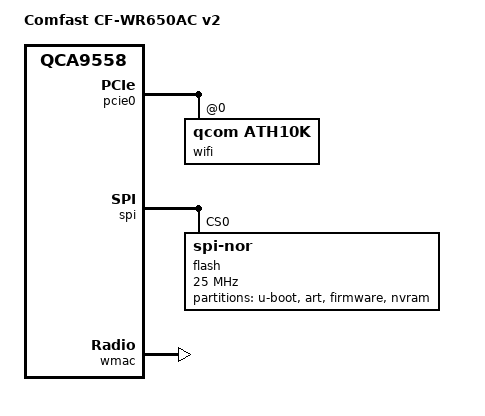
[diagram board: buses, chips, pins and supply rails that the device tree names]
// SPDX-License-Identifier: GPL-2.0-or-later OR MIT

#include "qca9558_comfast_cf-wr650ac.dtsi"

/ {
	compatible = "comfast,cf-wr650ac-v2", "qca,qca9558";
	model = "Comfast CF-WR650AC v2";
};

&pcie0 {
	status = "okay";

	wifi@0,0 {
		compatible = "qcom,ath10k";
		reg = <0x0000 0 0 0 0>;
		nvmem-cells = <&cal_art_5000>;
		nvmem-cell-names = "calibration";
	};
};

&spi {
	status = "okay";

	flash@0 {
		compatible = "jedec,spi-nor";
		reg = <0>;
		spi-max-frequency = <25000000>;

		partitions {
			compatible = "fixed-partitions";
			#address-cells = <1>;
			#size-cells = <1>;

			partition@0 {
				label = "u-boot";
				reg = <0x000000 0x040000>;
				read-only;
			};

			partition@40000 {
				label = "art";
				reg = <0x040000 0x010000>;
				read-only;

				nvmem-layout {
					compatible = "fixed-layout";
					#address-cells = <1>;
					#size-cells = <1>;

					macaddr_art_0: macaddr@0 {
						reg = <0x0 0x6>;
					};

					macaddr_art_6: macaddr@6 {
						reg = <0x6 0x6>;
					};

					macaddr_art_18: macaddr@18 {
						reg = <0x18 0x6>;
					};

					cal_art_1000: calibration@1000 {
						reg = <0x1000 0x440>;
					};

					cal_art_5000: calibration@5000 {
						reg = <0x5000 0x844>;
					};
				};
			};

			partition@50000 {
				label = "firmware";
				compatible = "denx,uimage";
				reg = <0x050000 0xfa0000>;
			};

			partition@ff0000 {
				label = "nvram";
				reg = <0xff0000 0x010000>;
				read-only;
			};
		};
	};
};

&eth0 {
	nvmem-cells = <&macaddr_art_0>;
	nvmem-cell-names = "mac-address";
};

&eth1 {
	nvmem-cells = <&macaddr_art_6>;
	nvmem-cell-names = "mac-address";
};

&wmac {
	nvmem-cells = <&macaddr_art_18>, <&cal_art_1000>;
	nvmem-cell-names = "mac-address", "calibration";
};
